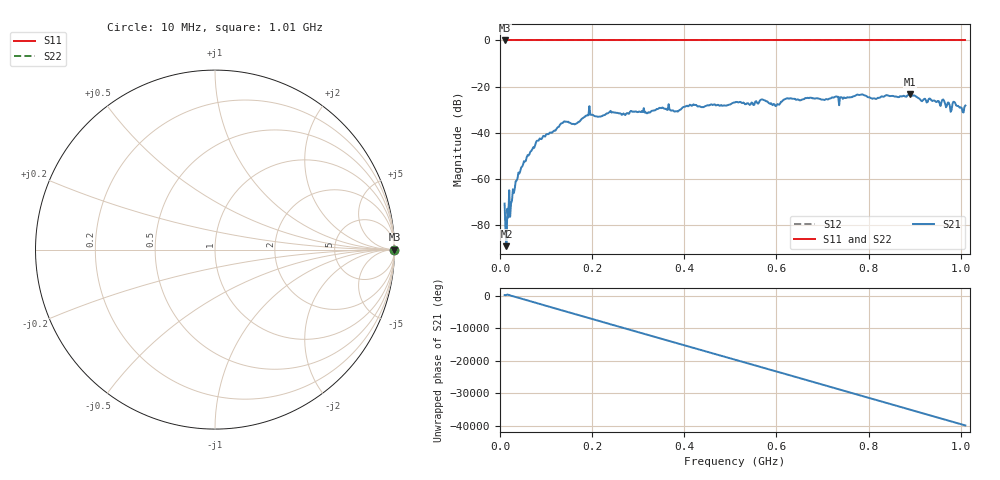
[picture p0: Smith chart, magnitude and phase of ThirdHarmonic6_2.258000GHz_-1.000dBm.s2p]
! 8/17/2025 2:46:05 AM
! C:\ANRITSUVNA\TEMP\TEMP.S2P
! CHANNEL.1
! TR.MEASUREMENT
! RAW.DATA
! RF.CORRECTION.OFF
! AVERAGING.OFF
! IF.BANDWIDTH: 5KHZ
! SWEEPTYPE:  FREQ.SWEEP(Linear)
! Reference Plane Port Info
! PORT:  PORT1  PORT2
! DISTANCE:  0  m  0  m
! TIME:  0  s  0  s
! PHASE.OFFSET:  0  deg.  0  deg.
! LOSS:  0  dB  0  dB
! REF.LOSS:  0  dB  0  dB
! REF.FREQ:  0  Hz  0  Hz
! Power Info
! POWER:  -20  dBm  -20  dBm
! EFF.POWER:  -20  dBm  -20  dBm
! SOURCE.ATTEN:  0  dB  0  dB
! TEST.ATTEN:  0  dB  0  dB
# GHZ S RI R 50.0
! FREQ.GHZ  S11RE  S11IM  S21RE  S21IM  S12RE  S12IM  S22RE  S22IM
!; PortSelection: Port_12
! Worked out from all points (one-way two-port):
!   501 points, 10 MHz to 1.01 GHz, reference 50 ohm
!   highest |S21| = -23.16 dB at 890 MHz (marker M1); lowest = -89.1 dB at 14 MHz (marker M2)
!   lowest |S11| = 0.0 dB at 10 MHz (marker M3)
!   |S11| at or under -10 dB: nowhere
!   |S22| runs from 0.0 to 0.0 dB; largest |S21 - S12| = 1.1
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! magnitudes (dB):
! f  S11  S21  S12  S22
! 10 MHz  0.0  -70.6  0.0  0.0
! 14 MHz  0.0  -89.1  0.0  0.0
! 44 MHz  0.0  -56.6  0.0  0.0
! 82 MHz  0.0  -43.4  0.0  0.0
! 136 MHz  0.0  -35.7  0.0  0.0
! 162 MHz  0.0  -36.3  0.0  0.0
! 178 MHz  0.0  -33.9  0.0  0.0
! 194 MHz  0.0  -28.4  0.0  0.0
! 216 MHz  0.0  -33.0  0.0  0.0
! 344 MHz  0.0  -29.5  0.0  0.0
! 382 MHz  0.0  -30.6  0.0  0.0
! 416 MHz  0.0  -28.3  0.0  0.0
! 510 MHz  0.0  -26.8  0.0  0.0
! 570 MHz  0.0  -25.6  0.0  0.0
! 602 MHz  0.0  -27.6  0.0  0.0
! 622 MHz  0.0  -25.1  0.0  0.0
! 678 MHz  0.0  -25.1  0.0  0.0
! 844 MHz  0.0  -24.0  0.0  0.0
! 890 MHz  0.0  -23.2  0.0  0.0
! 986 MHz  0.0  -26.6  0.0  0.0
! 1.002 GHz  0.0  -29.2  0.0  0.0
! 1.01 GHz  0.0  -28.2  0.0  0.0
